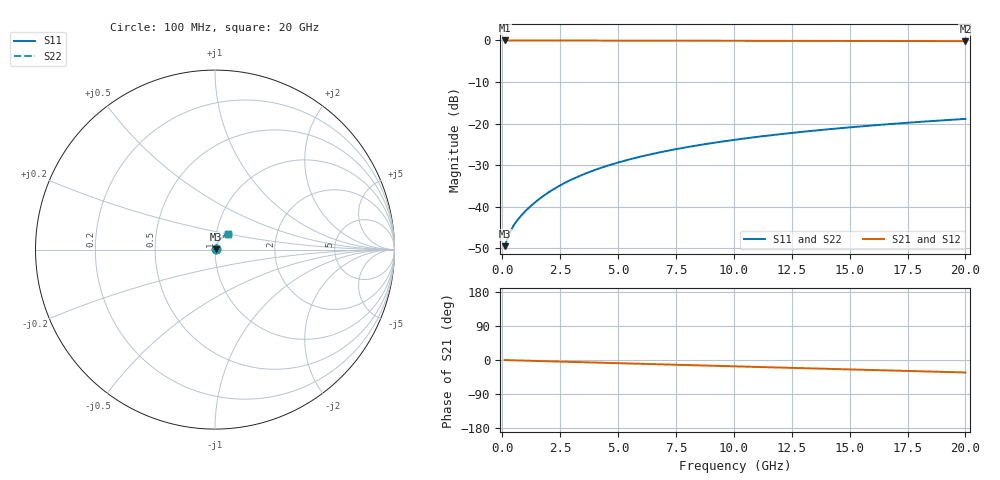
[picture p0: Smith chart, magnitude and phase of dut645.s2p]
! Touchstone file exported from HFSS 2026.1.0
!  File:  C:/ffzhzh/LocalFiles/Ansys_Project_Files/temp_train_TMRDL_645_1783009431_53980.aedt
!  Generated:  12:25:07 AM Jul  3, 2026
!  Design:  TMRDL
!  Project:  temp_train_TMRDL_645_1783009431_53980
! Variables:
!  h_bsmrdl = 2um
!  h_ox = 20um
!  h_rdl = 5um
!  h_sub = 80um
!  h_tmrdl = 3.19um
!  h_tsv = 80um
!  h_via = 3um
!  l_bsmrdl = 300um
!  l_sub = 968.13um
!  l_tmrdl = 568.13um
!  m_sub = 200um
!  pitch = 28.39um
!  r_tsv = 6um
!  s_tmrdl = 10um
!  w_bsmrdl = 18um
!  w_sub = 500um
!  w_tmrdl = 21.53um
!  x_tsv_center1 = 578.895um
!  x_tsv_center2 = 896.895um
!  x_tsv_center3 = 1486.555um
!  x_tsv_center4 = 1804.555um
!  x_tsv_center5 = 2394.215um
!  x_tsv_center6 = 2712.215um
# GHz S MA R 50.000000
! Terminal data exported
! Port[1] = TM_RDL1_1_T1
! Port[2] = TM_RDL1_1_T2
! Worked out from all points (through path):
!   200 points, 100 MHz to 20 GHz, reference 50 ohm
!   highest |S21| = -0.03 dB at 100 MHz (marker M1); lowest = -0.2 dB at 20 GHz (marker M2)
!   group delay of S21, straight-line fit = 4.56 ps
!   lowest |S11| = -49.5 dB at 100 MHz (marker M3), VSWR 1.01, Z = 50.3 + j0.109 ohm
!   |S11| at or under -10 dB: start of sweep to end of sweep
!   |S22| runs from -49.5 to -18.9 dB; largest |S21 - S12| = 2.7e-15
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0.1  0.003368 18.8  0.9968 -0.2  0.9968 -0.2  0.003368 18.8
! Gamma 0 0 0 0
! Port Impedance 50 0 50 0
0.3  0.004721 37.8  0.9963 -0.6  0.9963 -0.6  0.004721 37.8
0.4  0.005402 42.1  0.996 -0.7  0.996 -0.7  0.005402 42.1
0.5  0.00603 45.2  0.9958 -0.9  0.9958 -0.9  0.00603 45.2
0.6  0.006622 47.9  0.9956 -1.1  0.9956 -1.1  0.006622 47.9
0.8  0.007757 52.3  0.9954 -1.4  0.9954 -1.4  0.007757 52.3
1  0.008889 56.0  0.9952 -1.7  0.9952 -1.7  0.008889 56.0
1.2  0.01005 58.9  0.9951 -2.1  0.9951 -2.1  0.01005 58.9
1.7  0.01306 64.1  0.9948 -2.9  0.9948 -2.9  0.01306 64.1
2.2  0.01619 67.1  0.9946 -3.8  0.9946 -3.8  0.01619 67.1
2.8  0.02002 69.1  0.9943 -4.8  0.9943 -4.8  0.02002 69.1
3.5  0.02451 70.1  0.9938 -5.9  0.9938 -5.9  0.02451 70.1
4.2  0.02899 70.3  0.9933 -7.1  0.9933 -7.1  0.02899 70.3
5  0.03405 70.0  0.9926 -8.5  0.9926 -8.5  0.03405 70.0
5.9  0.03964 69.3  0.9918 -10.0  0.9918 -10.0  0.03964 69.3
6.8  0.04512 68.3  0.991 -11.5  0.991 -11.5  0.04512 68.3
8.3  0.05399 66.5  0.9895 -13.9  0.9895 -13.9  0.054 66.5
10.1  0.06422 64.0  0.9877 -16.9  0.9877 -16.9  0.06423 64.0
11.7  0.07297 61.8  0.9862 -19.5  0.9862 -19.5  0.07298 61.8
13.4  0.08194 59.3  0.9845 -22.3  0.9845 -22.3  0.08195 59.3
16.7  0.09848 54.6  0.9815 -27.6  0.9815 -27.6  0.09848 54.6
20  0.1139 49.8  0.9786 -32.9  0.9786 -32.9  0.1139 49.8
